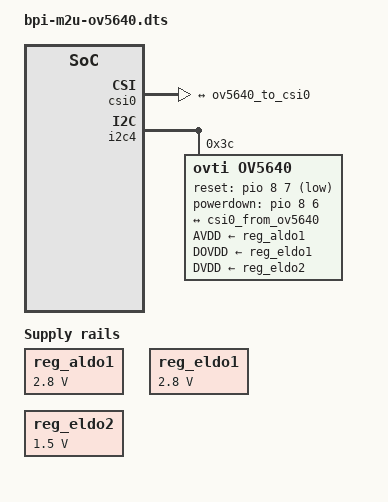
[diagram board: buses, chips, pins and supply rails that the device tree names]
// SPDX-License-Identifier: (GPL-2.0+ OR MIT)
//
// Copyright (C) 2018 Chen-Yu Tsai <wens@csie.org>
//
// Bananapi camera module based on OV5640

#ifdef __DTO_TEST__
#include <arm/sun8i-r40-bananapi-m2-ultra.dts>
#else
/dts-v1/;
/plugin/;
#endif

#include <dt-bindings/clock/sun8i-r40-ccu.h>
#include <dt-bindings/gpio/gpio.h>

&csi0 {
	pinctrl-names = "default";
	pinctrl-0 = <&csi0_8bits_pins>;
	status = "okay";

	port {
		/* Parallel bus endpoint */
		csi0_from_ov5640: endpoint {
			remote-endpoint = <&ov5640_to_csi0>;
			bus-width = <8>;
			hsync-active = <1>; /* Active high */
			vsync-active = <1>; /* Active high */
			data-active = <1>;  /* Active high */
			pclk-sample = <1>;  /* Rising */
		};
	};
};

&i2c4 {
	status = "okay";

	ov5640: camera@3c {
		compatible = "ovti,ov5640";
		reg = <0x3c>;
		pinctrl-names = "default";
		pinctrl-0 = <&csi0_mclk_pin>;
		clocks = <&ccu CLK_CSI0_MCLK>;
		clock-names = "xclk";

		reset-gpios = <&pio 8 7 GPIO_ACTIVE_LOW>; /* PI7 */
		powerdown-gpios = <&pio 8 6 GPIO_ACTIVE_HIGH>; /* PI6 */
		AVDD-supply = <&reg_aldo1>;
		DOVDD-supply = <&reg_eldo1>;
		DVDD-supply = <&reg_eldo2>;

		port {
			ov5640_to_csi0: endpoint {
				remote-endpoint = <&csi0_from_ov5640>;
				bus-width = <8>;
				data-shift = <2>;
				hsync-active = <1>; /* Active high */
				vsync-active = <1>; /* Active high */
				data-active = <1>;  /* Active high */
				pclk-sample = <1>;  /* Rising */
			};
		};
	};
};

&reg_aldo1 {
	regulator-name = "csi-avdd";
	regulator-min-microvolt = <2800000>;
	regulator-max-microvolt = <2800000>;
};

&reg_eldo1 {
	regulator-name = "csi-iovcc";
	regulator-min-microvolt = <2800000>;
	regulator-max-microvolt = <2800000>;
};

&reg_eldo2 {
	regulator-name = "csi-dvdd";
	regulator-min-microvolt = <1500000>;
	regulator-max-microvolt = <1500000>;
};
